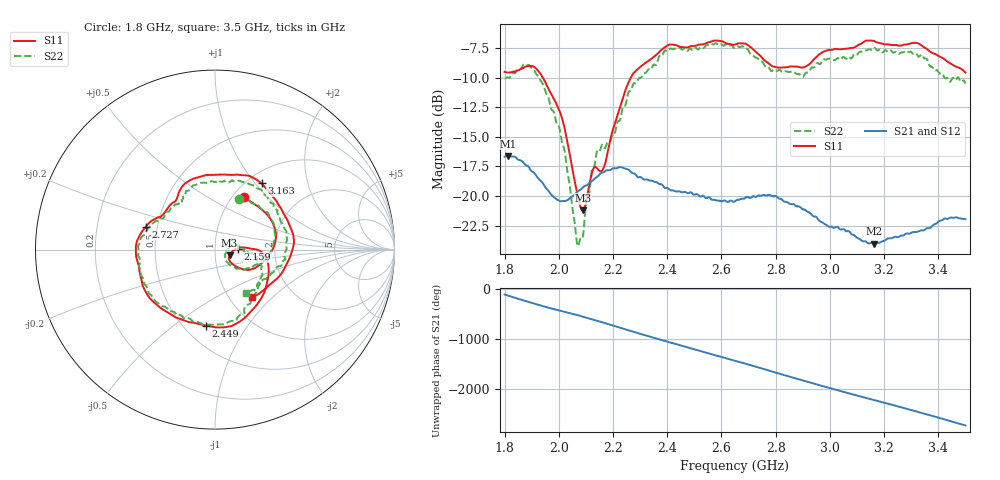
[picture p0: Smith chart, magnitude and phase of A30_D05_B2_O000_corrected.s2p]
! Created with skrf 1.9.0 (http://scikit-rf.org).
# Hz S RI R 50.0
!freq ReS11 ImS11 ReS21 ImS21 ReS12 ImS12 ReS22 ImS22
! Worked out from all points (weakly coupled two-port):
!   1601 points, 1.8 GHz to 3.5 GHz, reference 50 ohm
!   highest |S21| = -16.61 dB at 1.812 GHz (marker M1); lowest = -24.0 dB at 3.162 GHz (marker M2)
!   lowest |S11| = -21.2 dB at 2.089 GHz (marker M3), VSWR 1.19, Z = 58.7 - j3.8 ohm
!   |S11| at or under -10 dB: 1.941 GHz to 2.266 GHz (324.6 MHz wide, 15.4 % of centre)
!   |S22| runs from -24.2 to -7.1 dB; largest |S21 - S12| = 0.0028
!   S11 on the Smith chart (normalised r, x): 1.8 GHz: 1.12, +0.74; 2.159 GHz: 1.29, +0.01; 2.449 GHz: 0.64, -0.66; 2.727 GHz: 0.43, +0.13; 3.163 GHz: 1.16, +1.08; 3.5 GHz: 1.27, -0.75
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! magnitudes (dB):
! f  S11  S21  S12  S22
! 1.8 GHz  -9.5  -16.7  -16.7  -10.1
! 1.812 GHz  -9.6  -16.6  -16.6  -10.0
! 1.886 GHz  -9.0  -17.5  -17.5  -8.9
! 1.941 GHz  -10.0  -18.9  -18.9  -10.6
! 2.011 GHz  -13.4  -20.4  -20.4  -15.4
! 2.066 GHz  -19.6  -19.7  -19.7  -23.8
! 2.084 GHz  -21.1  -19.4  -19.4  -23.6
! 2.089 GHz  -21.2  -19.3  -19.3  -23.4
! 2.125 GHz  -17.8  -18.7  -18.7  -17.7
! 2.159 GHz  -17.9  -18.0  -18.0  -15.7
! 2.261 GHz  -10.2  -17.8  -17.9  -11.2
! 2.367 GHz  -7.9  -18.9  -18.9  -8.4
! 2.449 GHz  -7.4  -19.7  -19.7  -7.5
! 2.65 GHz  -7.2  -20.5  -20.4  -7.5
! 2.727 GHz  -7.8  -20.1  -20.1  -8.3
! 2.807 GHz  -9.2  -20.1  -20.1  -9.4
! 2.934 GHz  -8.7  -21.6  -21.6  -9.1
! 3.162 GHz  -6.9  -24.0  -24.0  -7.5
! 3.163 GHz  -6.9  -24.0  -24.0  -7.5
! 3.217 GHz  -7.2  -23.6  -23.6  -7.8
! 3.325 GHz  -7.1  -23.0  -23.0  -8.2
! 3.5 GHz  -9.6  -22.0  -21.9  -10.5
